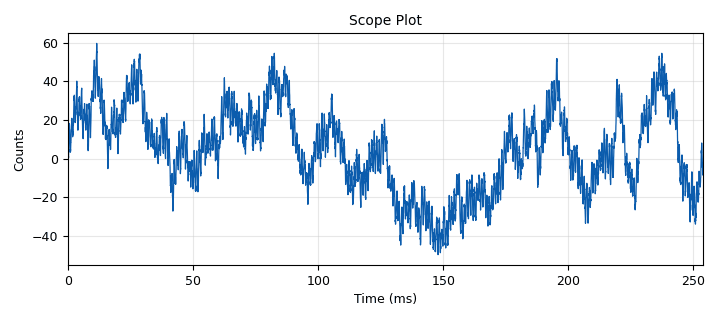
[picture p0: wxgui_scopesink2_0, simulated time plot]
<?xml version='1.0' encoding='utf-8'?>
<flow_graph>
<block>
<key>options</key>
<param><key>id</key><value>top_block</value></param>
<param><key>generate_options</key><value>wx_gui</value></param>
<param><key>category</key><value>Custom</value></param>
</block>
<block>
<key>variable</key>
<param><key>id</key><value>samp_rate</value></param>
<param><key>value</key><value>32000</value></param>
</block>
<block>
<key>analog_noise_source_x</key>
<param><key>id</key><value>analog_noise_source_x_0</value></param>
<param><key>type</key><value>float</value></param>
<param><key>noise_type</key><value>analog.GR_GAUSSIAN</value></param>
<param><key>amp</key><value>1</value></param>
<param><key>seed</key><value>0</value></param>
</block>
<block>
<key>analog_sig_source_x</key>
<param><key>id</key><value>analog_sig_source_x_0</value></param>
<param><key>type</key><value>float</value></param>
<param><key>samp_rate</key><value>samp_rate</value></param>
<param><key>waveform</key><value>analog.GR_COS_WAVE</value></param>
<param><key>freq</key><value>1000</value></param>
<param><key>amp</key><value>1</value></param>
<param><key>offset</key><value>0</value></param>
</block>
<block>
<key>blocks_add_xx</key>
<param><key>id</key><value>blocks_add_xx_0</value></param>
<param><key>type</key><value>float</value></param>
</block>
<block>
<key>blocks_throttle</key>
<param><key>id</key><value>blocks_throttle_0</value></param>
<param><key>type</key><value>float</value></param>
<param><key>samples_per_second</key><value>samp_rate</value></param>
</block>
<block>
<key>wxgui_scopesink2</key>
<param><key>id</key><value>wxgui_scopesink2_0</value></param>
<param><key>type</key><value>float</value></param>
<param><key>title</key><value>Scope Plot</value></param>
<param><key>samp_rate</key><value>samp_rate</value></param>
<param><key>v_scale</key><value>0</value></param>
<param><key>v_offset</key><value>0</value></param>
<param><key>t_scale</key><value>0</value></param>
<param><key>ac_couple</key><value>False</value></param>
<param><key>xy_mode</key><value>False</value></param>
<param><key>num_inputs</key><value>1</value></param>
<param><key>trig_mode</key><value>wxgui.TRIG_MODE_AUTO</value></param>
<param><key>y_axis_label</key><value>Counts</value></param>
</block>
<block>
<key>blocks_moving_average_xx</key>
<param><key>id</key><value>blocks_moving_average_xx_0</value></param>
<param><key>type</key><value>float</value></param>
<param><key>length</key><value>1000</value></param>
<param><key>scale</key><value>1</value></param>
<param><key>max_iter</key><value>4000</value></param>
</block>
<connection><source_block_id>analog_sig_source_x_0</source_block_id><sink_block_id>blocks_add_xx_0</sink_block_id><source_key>0</source_key><sink_key>1</sink_key></connection>
<connection><source_block_id>analog_noise_source_x_0</source_block_id><sink_block_id>blocks_add_xx_0</sink_block_id><source_key>0</source_key><sink_key>0</sink_key></connection>
<connection><source_block_id>blocks_add_xx_0</source_block_id><sink_block_id>blocks_throttle_0</sink_block_id><source_key>0</source_key><sink_key>0</sink_key></connection>
<connection><source_block_id>blocks_throttle_0</source_block_id><sink_block_id>blocks_moving_average_xx_0</sink_block_id><source_key>0</source_key><sink_key>0</sink_key></connection>
<connection><source_block_id>blocks_moving_average_xx_0</source_block_id><sink_block_id>wxgui_scopesink2_0</sink_block_id><source_key>0</source_key><sink_key>0</sink_key></connection>
</flow_graph>
